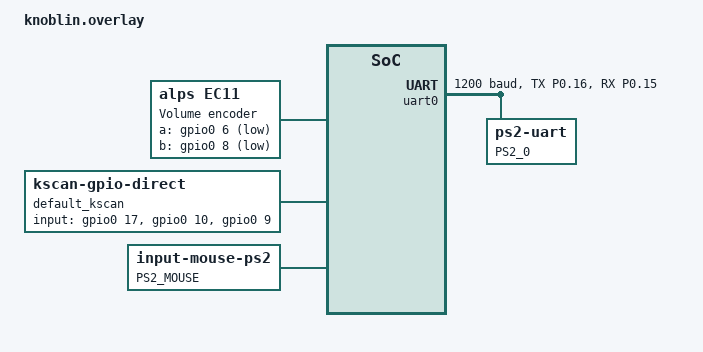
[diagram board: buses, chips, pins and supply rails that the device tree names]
/ {
    chosen {
        zmk,kscan = &default_kscan;
        zmk,mouse = &mouse_ps2;
    };

    vol_encoder: vol_encoder {
        compatible = "alps,ec11";
        label = "Volume encoder";
        a-gpios = <&gpio0 6 (GPIO_PULL_UP | GPIO_ACTIVE_LOW)>;
        b-gpios = <&gpio0 8 (GPIO_PULL_UP | GPIO_ACTIVE_LOW)>;
        steps = <72>;
    };

    sensors {
        compatible = "zmk,keymap-sensors";
        sensors = <&vol_encoder>;
        triggers-per-rotation = <36>;
    };

    default_kscan: kscan {
        compatible = "zmk,kscan-gpio-direct";
        label = "default_kscan";

        // encoder click
        // S key
        // bootloader
        input-gpios =
            <&gpio0 17 (GPIO_ACTIVE_HIGH | GPIO_PULL_DOWN)>,
            <&gpio0 10 (GPIO_ACTIVE_HIGH | GPIO_PULL_DOWN)>,
            <&gpio0 9 (GPIO_ACTIVE_HIGH | GPIO_PULL_DOWN)>;
    };

    mouse_ps2: mouse_ps2 {
        compatible = "zmk,input-mouse-ps2";
        label = "PS2_MOUSE";

        ps2-device = <&ps2_0>;
        
        // Enable power-on-reset
        // rst-gpios = <&gpio0 7 GPIO_ACTIVE_HIGH>;
    };
};

#define MOUSE_PS2_DRIVER_UART

&pinctrl {
    uart0_ps2_default: uart0_ps2_default {
        group1 {
            psels = <NRF_PSEL(UART_TX, 0, 16)>,
                    <NRF_PSEL(UART_RX, 0, 15)>;
        };
    };

    uart0_ps2_sleep: uart0_ps2_sleep {
        group1 {
            psels = <NRF_PSEL(UART_TX, 0, 16)>,
                    <NRF_PSEL(UART_RX, 0, 15)>;
            low-power-enable;
        };
    };
};

&uart0 {
    status = "okay";
    compatible = "nordic,nrf-uarte";
    current-speed = <1200>;
    pinctrl-0 = <&uart0_ps2_default>;
    pinctrl-1 = <&uart0_ps2_sleep>;
    pinctrl-names = "default", "sleep";

    ps2_0: ps2_0 {
        compatible = "zmk,ps2-uart";
        label = "PS2_0";
        data-pin = <15>;  // GPIO P0.15 for PS/2 DATA
        clk-pin = <16>;   // GPIO P0.16 for PS/2 CLK
        // rst-pin = <7>;    // GPIO P0.07 for reset (optional)
    };
};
